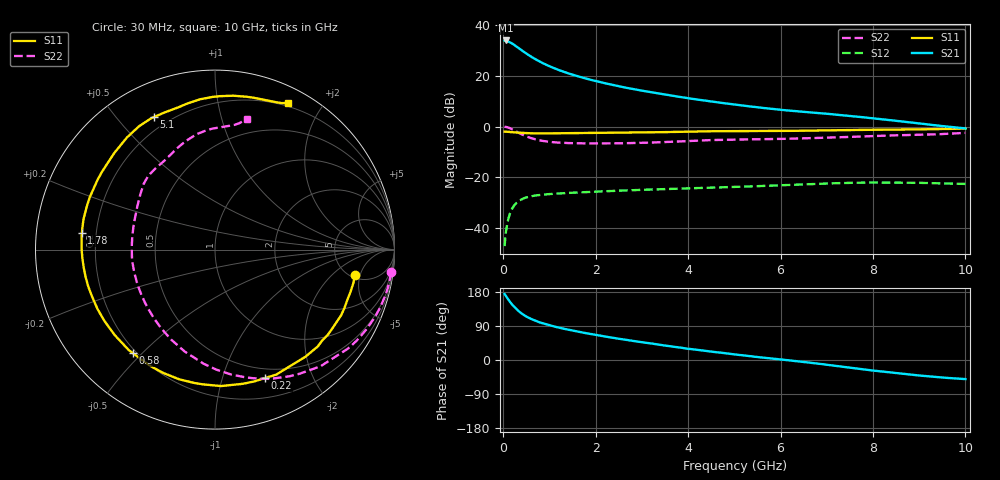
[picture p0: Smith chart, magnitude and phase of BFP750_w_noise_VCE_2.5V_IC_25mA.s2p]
! Infineon Technologies  Discrete & RF Semiconductors
! BFP750
! VCE =  2.5 V,  IC =  25 mA
! Common Emitter S-Parameters:  Jan 2016
# GHz  S  MA  R  50
!  f  S11  S21  S12  S22
! GHz  MAG  ANG  MAG  ANG  MAG  ANG  MAG  ANG
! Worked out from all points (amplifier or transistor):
!   229 points, 30 MHz to 10 GHz, reference 50 ohm
!   highest |S21| = 33.9 dB at 50 MHz (marker M1)
!   |S21| within 3 dB of that: start of sweep to 333.1 MHz
!   unconditionally stable (mu >= 1): 4.634 GHz to end of sweep
!   at 280 MHz: K = 0.12, MSG = 30.9 dB, |S12| = -30.2 dB
!   at 1.78 GHz: K = 0.56, MSG = 22.4 dB, |S12| = -25.8 dB
!   at 10 GHz: K = 1.08, MAG = 9.2 dB, |S12| = -22.6 dB
!   lowest NFmin = 0.79 dB at 450 MHz
!   S11 on the Smith chart (normalised r, x): 30 MHz: 5.43, -4.15; 220 MHz: 0.40, -1.39; 580 MHz: 0.19, -0.47; 1.78 GHz: 0.14, +0.06; 5.1 GHz: 0.14, +0.63; 10 GHz: 0.17, +1.60
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0.03  0.7931 -10.3  49.53 174.2  0.0044 84.3  0.989 -7.4
0.05  0.7908 -17.4  49.55 170.0  0.0072 81.0  0.9861 -12.6
0.08  0.7922 -27.6  48.76 165.1  0.0111 76.9  0.973 -20.2
0.12  0.7832 -40.3  46.99 157.8  0.0163 70.4  0.9466 -29.9
0.15  0.7815 -49.6  45.62 152.9  0.0198 65.9  0.9224 -36.9
0.2  0.7756 -63.9  42.76 145.1  0.0248 59.5  0.8769 -47.8
0.22  0.7682 -68.7  41.53 142.6  0.0264 57.0  0.855 -51.7
0.3  0.761 -87.4  36.97 132.3  0.0322 48.7  0.7834 -66.9
0.4  0.7495 -105.5  31.67 122.4  0.037 40.8  0.7024 -82.5
0.5  0.7418 -119.6  27.33 114.7  0.0402 35.0  0.6395 -95.6
0.58  0.7362 -128.5  24.5 109.8  0.0419 31.5  0.5999 -104.3
0.8  0.7333 -147.1  18.79 98.8  0.045 24.9  0.5318 -124.1
1  0.7335 -158.9  15.37 91.5  0.0467 21.2  0.4994 -137.4
1.3  0.7383 -171.9  12.04 82.7  0.0486 17.7  0.4764 -152.5
1.7  0.7463 175.0  9.277 72.9  0.0508 14.7  0.4663 -167.3
1.78  0.7476 172.8  8.857 71.1  0.0511 14.2  0.4654 -169.8
2.56  0.7569 154.2  6.05 55.0  0.0546 10.3  0.4676 169.3
3.4  0.7734 138.0  4.409 40.0  0.0584 6.6  0.4905 152.7
5.1  0.8131 114.6  2.645 13.5  0.0651 -0.5  0.5556 130.8
6.8  0.8355 97.7  1.845 -9.4  0.0743 -9.2  0.5956 112.2
8.4  0.8695 78.4  1.326 -33.2  0.0788 -22.6  0.6673 93.8
10  0.9111 63.5  0.918 -50.4  0.0741 -32.8  0.751 76.3
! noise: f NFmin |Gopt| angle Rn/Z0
0.45  0.79  0.09  -165  0.58
0.9  0.81  0.15  -161  0.15
1.5  0.82  0.17  -161  0.11
1.9  0.83  0.19  -161  0.09
2.4  0.86  0.22  -154  0.08
3.5  1.1  0.28  -138  0.08
